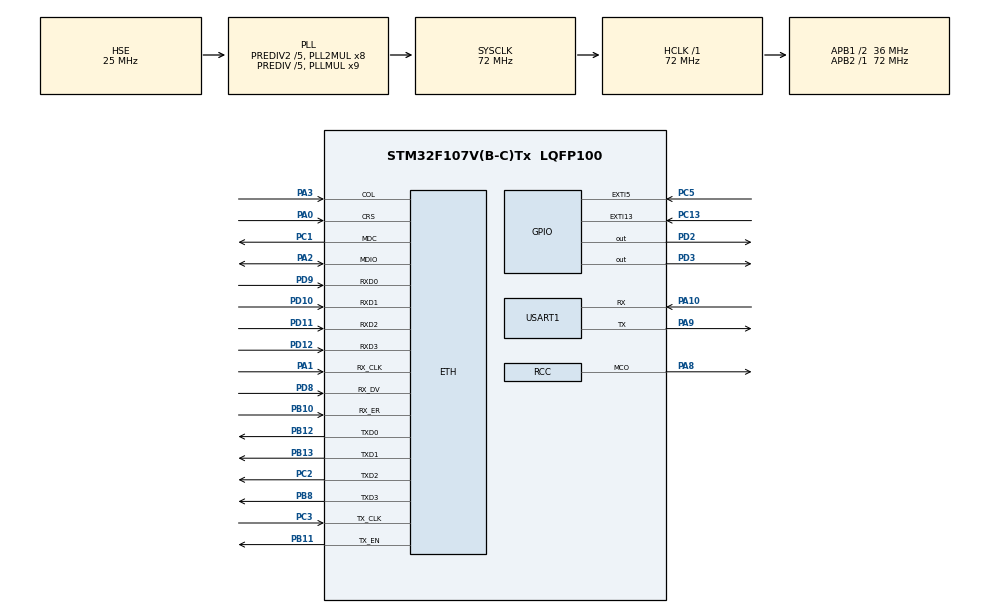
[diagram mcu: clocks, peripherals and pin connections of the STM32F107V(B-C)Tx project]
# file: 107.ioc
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Dma.Request0=USART1_RX
Dma.Request1=USART1_TX
Dma.USART1_RX.0.Direction=DMA_PERIPH_TO_MEMORY
Dma.USART1_RX.0.Instance=DMA1_Channel5
Dma.USART1_RX.0.MemDataAlignment=DMA_MDATAALIGN_BYTE
Dma.USART1_RX.0.MemInc=DMA_MINC_ENABLE
Dma.USART1_RX.0.Mode=DMA_NORMAL
Dma.USART1_RX.0.PeriphDataAlignment=DMA_PDATAALIGN_BYTE
Dma.USART1_RX.0.PeriphInc=DMA_PINC_DISABLE
Dma.USART1_RX.0.Priority=DMA_PRIORITY_LOW
Dma.USART1_TX.1.Direction=DMA_MEMORY_TO_PERIPH
Dma.USART1_TX.1.Instance=DMA1_Channel4
Dma.USART1_TX.1.MemDataAlignment=DMA_MDATAALIGN_BYTE
Dma.USART1_TX.1.MemInc=DMA_MINC_ENABLE
Dma.USART1_TX.1.Mode=DMA_NORMAL
Dma.USART1_TX.1.PeriphDataAlignment=DMA_PDATAALIGN_BYTE
Dma.USART1_TX.1.PeriphInc=DMA_PINC_DISABLE
Dma.USART1_TX.1.Priority=DMA_PRIORITY_LOW
ETH.MediaInterface=ETH_MEDIA_INTERFACE_MII
ETH.PHY_Name_MII=DP83848_PHY_ADDRESS
ETH.RxMode=ETH_RXINTERRUPT_MODE
FREERTOS.BinarySemaphores01=myBinarySem01,Dynamic,NULL;myBinarySem02,Dynamic,NULL
FREERTOS.CountingSemaphores01=myCountingSem01,2,Dynamic,NULL
FREERTOS.HEAP_NUMBER=4
FREERTOS.INCLUDE_eTaskGetState=1
FREERTOS.INCLUDE_pcTaskGetTaskName=1
FREERTOS.INCLUDE_uxTaskGetStackHighWaterMark=1
FREERTOS.INCLUDE_vTaskCleanUpResources=1
FREERTOS.INCLUDE_vTaskDelayUntil=1
FREERTOS.INCLUDE_xQueueGetMutexHolder=1
FREERTOS.INCLUDE_xSemaphoreGetMutexHolder=1
FREERTOS.INCLUDE_xTaskAbortDelay=1
FREERTOS.INCLUDE_xTaskGetCurrentTaskHandle=1
FREERTOS.INCLUDE_xTaskGetHandle=1
FREERTOS.MEMORY_ALLOCATION=0
FREERTOS.Mutexes01=myMutex01,Dynamic,NULL;myMutex02,Dynamic,NULL
FREERTOS.RecursiveMutexes01=myRecursiveMutex01,Dynamic,NULL;myRecursiveMutex02,Dynamic,NULL
FREERTOS.Tasks01=defaultTask,0,128,StartDefaultTask,Default,NULL,Dynamic,NULL,NULL;myTask02,-1,128,StartTask02,Default,NULL,Dynamic,NULL,NULL;myTask03,-1,128,StartTask03,Default,NULL,Dynamic,NULL,NULL;myTask04,-1,128,StartTask04,Default,NULL,Dynamic,NULL,NULL
FREERTOS.configGENERATE_RUN_TIME_STATS=1
FREERTOS.configMAX_PRIORITIES=32
FREERTOS.configTOTAL_HEAP_SIZE=30000
FREERTOS.configUSE_APPLICATION_TASK_TAG=1
FREERTOS.configUSE_COUNTING_SEMAPHORES=1
FREERTOS.configUSE_RECURSIVE_MUTEXES=1
FREERTOS.configUSE_STATS_FORMATTING_FUNCTIONS=1
FREERTOS.configUSE_TRACE_FACILITY=1
LWIP.GATEWAY_ADDRESS=192.168.001.001
LWIP.IP_ADDRESS=192.168.001.120
LWIP.LWIP_DHCP=0
LWIP.LWIP_NETIF_LINK_CALLBACK=1
LWIP.LWIP_NETIF_LOOPBACK=1
LWIP.LWIP_NETIF_STATUS_CALLBACK=1
LWIP.NETMASK_ADDRESS=255.255.255.000
LWIP.Version=v2.0.0_Cube
Mcu.Family=STM32F1
Mcu.Name=STM32F107V(B-C)Tx
Mcu.Package=LQFP100
NVIC.DMA1_Channel4_IRQn=true\:6\:0\:true\:false\:true\:true\:false
NVIC.DMA1_Channel5_IRQn=true\:6\:0\:true\:false\:true\:true\:false
NVIC.ETH_IRQn=true\:5\:0\:false\:false\:true\:true\:true
NVIC.ETH_WKUP_IRQn=true\:7\:0\:true\:false\:true\:true\:true
NVIC.EXTI15_10_IRQn=true\:7\:0\:true\:false\:true\:true\:true
NVIC.EXTI9_5_IRQn=true\:7\:0\:true\:false\:true\:true\:true
NVIC.PriorityGroup=NVIC_PRIORITYGROUP_4
NVIC.TIM7_IRQn=true\:0\:0\:false\:false\:true\:false\:false
NVIC.TimeBase=TIM7_IRQn
NVIC.TimeBaseIP=TIM7
NVIC.USART1_IRQn=true\:5\:0\:false\:false\:true\:true\:true
OSC_IN.Mode=HSE-External-Oscillator
OSC_IN.Signal=RCC_OSC_IN
OSC_OUT.Mode=HSE-External-Oscillator
OSC_OUT.Signal=RCC_OSC_OUT
PA0-WKUP.Mode=MII
PA0-WKUP.Signal=ETH_CRS
PA1.Mode=MII
PA1.Signal=ETH_RX_CLK
PA10.Mode=Asynchronous
PA10.Signal=USART1_RX
PA13.Mode=Trace_Asynchronous_SW
PA13.Signal=SYS_JTMS-SWDIO
PA14.Mode=Trace_Asynchronous_SW
PA14.Signal=SYS_JTCK-SWCLK
PA2.Mode=MII
PA2.Signal=ETH_MDIO
PA3.Mode=MII
PA3.Signal=ETH_COL
PA8.Mode=Clock-out
PA8.Signal=RCC_MCO
PA9.Mode=Asynchronous
PA9.Signal=USART1_TX
PB10.Mode=Activate Rx Err signal
PB10.Signal=ETH_RX_ER
PB11.Mode=MII
PB11.Signal=ETH_TX_EN
PB12.Mode=MII
PB12.Signal=ETH_TXD0
PB13.Mode=MII
PB13.Signal=ETH_TXD1
PB3.Mode=Trace_Asynchronous_SW
PB3.Signal=SYS_TRACESWO
PB8.Mode=MII
PB8.Signal=ETH_TXD3
PC1.Mode=MII
PC1.Signal=ETH_MDC
PC13-TAMPER-RTC.GPIO_ModeDefaultEXTI=GPIO_MODE_IT_FALLING
PC13-TAMPER-RTC.GPIO_PuPd=GPIO_PULLUP
PC13-TAMPER-RTC.Signal=GPXTI13
PC14-OSC32_IN.Mode=LSE-External-Oscillator
PC14-OSC32_IN.Signal=RCC_OSC32_IN
PC15-OSC32_OUT.Mode=LSE-External-Oscillator
PC15-OSC32_OUT.Signal=RCC_OSC32_OUT
PC2.Mode=MII
PC2.Signal=ETH_TXD2
PC3.Mode=MII
PC3.Signal=ETH_TX_CLK
PC5.Signal=GPXTI5
PD0.Signal=CAN1_RX
PD1.Signal=CAN1_TX
PD10.Mode=MII
PD10.Signal=ETH_RXD1
PD11.Mode=MII
PD11.Signal=ETH_RXD2
PD12.Mode=MII
PD12.Signal=ETH_RXD3
PD2.GPIO_Speed=GPIO_SPEED_FREQ_HIGH
PD2.Signal=GPIO_Output
PD3.GPIO_Speed=GPIO_SPEED_FREQ_HIGH
PD3.Signal=GPIO_Output
PD8.Mode=MII
PD8.Signal=ETH_RX_DV
PD9.Mode=MII
PD9.Signal=ETH_RXD0
ProjectManager.HeapSize=0x200
ProjectManager.StackSize=0x400
ProjectManager.TargetToolchain=MDK-ARM V5
RCC.AHBFreq_Value=72000000
RCC.APB1CLKDivider=RCC_HCLK_DIV2
RCC.APB1Freq_Value=36000000
RCC.APB1TimFreq_Value=72000000
RCC.APB2Freq_Value=72000000
RCC.APB2TimFreq_Value=72000000
RCC.HCLKFreq_Value=72000000
RCC.HSEDivPLL=RCC_HSE_PREDIV_DIV5
RCC.HSE_VALUE=25000000
RCC.PLL3Mul=RCC_PLLI2S_MUL10
RCC.PLLMUL=RCC_PLL_MUL9
RCC.PLLSourceVirtual=RCC_PLLSOURCE_HSE
RCC.Prediv1Source=RCC_PREDIV1_SOURCE_PLL2
RCC.Prediv2=RCC_HSE_PREDIV2_DIV5
RCC.RCC_MCOMult_Clock_Source_FROM_PLL3MUL=RCC_MCO1SOURCE_PLL3CLK_DIV2
RCC.RCC_MCOSource=RCC_MCO1SOURCE_PLL3CLK_DIV2
RCC.SYSCLKFreq_VALUE=72000000
RCC.SYSCLKSource=RCC_SYSCLKSOURCE_PLLCLK
RCC.USBFreq_Value=48000000
USART1.VirtualMode=VM_ASYNC
VP_FREERTOS_VS_ENABLE.Mode=Enabled
VP_LWIP_VS_Enabled.Mode=Enabled
VP_SYS_VS_tim7.Mode=TIM7
board=custom

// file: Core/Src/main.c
/* USER CODE BEGIN Header */
/**
  ******************************************************************************
  * @file           : main.c
  * @brief          : Main program body
  ******************************************************************************
  * This notice applies to any and all portions of this file
  * that are not between comment pairs USER CODE BEGIN and
  * USER CODE END. Other portions of this file, whether
  * inserted by the user or by software development tools
  * are owned by their respective copyright owners.
  *
  * Copyright (c) 2019 STMicroelectronics International N.V.
  * All rights reserved.
  *
  * Redistribution and use in source and binary forms, with or without
  * modification, are permitted, provided that the following conditions are met:
  *
  * 1. Redistribution of source code must retain the above copyright notice,
  *    this list of conditions and the following disclaimer.
  * 2. Redistributions in binary form must reproduce the above copyright notice,
  *    this list of conditions and the following disclaimer in the documentation
  *    and/or other materials provided with the distribution.
  * 3. Neither the name of STMicroelectronics nor the names of other
  *    contributors to this software may be used to endorse or promote products
  *    derived from this software without specific written permission.
  * 4. This software, including modifications and/or derivative works of this
  *    software, must execute solely and exclusively on microcontroller or
  *    microprocessor devices manufactured by or for STMicroelectronics.
  * 5. Redistribution and use of this software other than as permitted under
  *    this license is void and will automatically terminate your rights under
  *    this license.
  *
  * THIS SOFTWARE IS PROVIDED BY STMICROELECTRONICS AND CONTRIBUTORS "AS IS"
  * AND ANY EXPRESS, IMPLIED OR STATUTORY WARRANTIES, INCLUDING, BUT NOT
  * LIMITED TO, THE IMPLIED WARRANTIES OF MERCHANTABILITY, FITNESS FOR A
  * PARTICULAR PURPOSE AND NON-INFRINGEMENT OF THIRD PARTY INTELLECTUAL PROPERTY
  * RIGHTS ARE DISCLAIMED TO THE FULLEST EXTENT PERMITTED BY LAW. IN NO EVENT
  * SHALL STMICROELECTRONICS OR CONTRIBUTORS BE LIABLE FOR ANY DIRECT, INDIRECT,
  * INCIDENTAL, SPECIAL, EXEMPLARY, OR CONSEQUENTIAL DAMAGES (INCLUDING, BUT NOT
  * LIMITED TO, PROCUREMENT OF SUBSTITUTE GOODS OR SERVICES; LOSS OF USE, DATA,
  * OR PROFITS; OR BUSINESS INTERRUPTION) HOWEVER CAUSED AND ON ANY THEORY OF
  * LIABILITY, WHETHER IN CONTRACT, STRICT LIABILITY, OR TORT (INCLUDING
  * NEGLIGENCE OR OTHERWISE) ARISING IN ANY WAY OUT OF THE USE OF THIS SOFTWARE,
  * EVEN IF ADVISED OF THE POSSIBILITY OF SUCH DAMAGE.
  *
  ******************************************************************************
  */
/* USER CODE END Header */

#include "main.h"
#include "cmsis_os.h"
#include "dma.h"
#include "lwip.h"
#include "usart.h"
#include "gpio.h"

/* USER CODE BEGIN PV */
//static uint8_t txstr[32]={0};
//extern struct netif gnetif;

////static  char str[32];
//volatile uint8_t rx_len = 0;                          //接收数据长度
//volatile uint8_t recv_end_flag = 0;                   //接收完成标记位
//uint8_t rx_buffer[32] = {0}; //接收数据缓存
//int8_t usart1_send_complete_flag = 0;
//__align(4) uint8_t rxbuf[32] = {0}, txbuf[32] = {0};
/* USER CODE END PV */

void SystemClock_Config(void);
void MX_FREERTOS_Init(void);

int main(void)
{

  /* MCU Configuration--------------------------------------------------------*/

  /* Reset of all peripherals, Initializes the Flash interface and the Systick. */
  HAL_Init();

  /* Configure the system clock */
  SystemClock_Config();

  /* Initialize all configured peripherals */
  MX_GPIO_Init();
  MX_DMA_Init();
  MX_USART1_UART_Init();
  /* USER CODE BEGIN 2 */
    printf("start os!\r\n");

  /* USER CODE END 2 */

  /* Call init function for freertos objects (in freertos.c) */
  MX_FREERTOS_Init();

  /* Start scheduler */
  osKernelStart();

  /* We should never get here as control is now taken by the scheduler */

  /* Infinite loop */
  /* USER CODE BEGIN WHILE */
  while (1)
  {
osDelay(100);
    /* USER CODE END WHILE */

  }
}

void SystemClock_Config(void)
{
  RCC_OscInitTypeDef RCC_OscInitStruct = {0};
  RCC_ClkInitTypeDef RCC_ClkInitStruct = {0};

  /**Initializes the CPU, AHB and APB busses clocks
  */
  RCC_OscInitStruct.OscillatorType = RCC_OSCILLATORTYPE_HSE;
  RCC_OscInitStruct.HSEState = RCC_HSE_ON;
  RCC_OscInitStruct.HSEPredivValue = RCC_HSE_PREDIV_DIV5;
  RCC_OscInitStruct.HSIState = RCC_HSI_ON;
  RCC_OscInitStruct.Prediv1Source = RCC_PREDIV1_SOURCE_PLL2;
  RCC_OscInitStruct.PLL.PLLState = RCC_PLL_ON;
  RCC_OscInitStruct.PLL.PLLSource = RCC_PLLSOURCE_HSE;
  RCC_OscInitStruct.PLL.PLLMUL = RCC_PLL_MUL9;
  RCC_OscInitStruct.PLL2.PLL2State = RCC_PLL2_ON;
  RCC_OscInitStruct.PLL2.PLL2MUL = RCC_PLL2_MUL8;
  RCC_OscInitStruct.PLL2.HSEPrediv2Value = RCC_HSE_PREDIV2_DIV5;
  if (HAL_RCC_OscConfig(&RCC_OscInitStruct) != HAL_OK)
  {
    Error_Handler();
  }
  /**Initializes the CPU, AHB and APB busses clocks
  */
  RCC_ClkInitStruct.ClockType = RCC_CLOCKTYPE_HCLK|RCC_CLOCKTYPE_SYSCLK
                              |RCC_CLOCKTYPE_PCLK1|RCC_CLOCKTYPE_PCLK2;
  RCC_ClkInitStruct.SYSCLKSource = RCC_SYSCLKSOURCE_PLLCLK;
  RCC_ClkInitStruct.AHBCLKDivider = RCC_SYSCLK_DIV1;
  RCC_ClkInitStruct.APB1CLKDivider = RCC_HCLK_DIV2;
  RCC_ClkInitStruct.APB2CLKDivider = RCC_HCLK_DIV1;

  if (HAL_RCC_ClockConfig(&RCC_ClkInitStruct, FLASH_LATENCY_2) != HAL_OK)
  {
    Error_Handler();
  }
  HAL_RCC_MCOConfig(RCC_MCO, RCC_MCO1SOURCE_PLL3CLK_DIV2, RCC_MCODIV_1);
  /**Configure the Systick interrupt time
  */
  __HAL_RCC_HSE_PREDIV2_CONFIG(RCC_HSE_PREDIV2_DIV5);
  /**Configure the Systick interrupt time
  */
  __HAL_RCC_PLLI2S_CONFIG(RCC_PLLI2S_MUL10);
  /**Configure the Systick interrupt time
  */
  __HAL_RCC_PLLI2S_ENABLE();
}

void HAL_TIM_PeriodElapsedCallback(TIM_HandleTypeDef *htim)
{
  if (htim->Instance == TIM7) {
    HAL_IncTick();
  }
}

void Error_Handler(void)
{
}

/************************ (C) COPYRIGHT STMicroelectronics *****END OF FILE****/

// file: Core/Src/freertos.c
/* USER CODE BEGIN Header */
/**
  ******************************************************************************
  * File Name          : freertos.c
  * Description        : Code for freertos applications
  ******************************************************************************
  * This notice applies to any and all portions of this file
  * that are not between comment pairs USER CODE BEGIN and
  * USER CODE END. Other portions of this file, whether
  * inserted by the user or by software development tools
  * are owned by their respective copyright owners.
  *
  * Copyright (c) 2019 STMicroelectronics International N.V.
  * All rights reserved.
  *
  * Redistribution and use in source and binary forms, with or without
  * modification, are permitted, provided that the following conditions are met:
  *
  * 1. Redistribution of source code must retain the above copyright notice,
  *    this list of conditions and the following disclaimer.
  * 2. Redistributions in binary form must reproduce the above copyright notice,
  *    this list of conditions and the following disclaimer in the documentation
  *    and/or other materials provided with the distribution.
  * 3. Neither the name of STMicroelectronics nor the names of other
  *    contributors to this software may be used to endorse or promote products
  *    derived from this software without specific written permission.
  * 4. This software, including modifications and/or derivative works of this
  *    software, must execute solely and exclusively on microcontroller or
  *    microprocessor devices manufactured by or for STMicroelectronics.
  * 5. Redistribution and use of this software other than as permitted under
  *    this license is void and will automatically terminate your rights under
  *    this license.
  *
  * THIS SOFTWARE IS PROVIDED BY STMICROELECTRONICS AND CONTRIBUTORS "AS IS"
  * AND ANY EXPRESS, IMPLIED OR STATUTORY WARRANTIES, INCLUDING, BUT NOT
  * LIMITED TO, THE IMPLIED WARRANTIES OF MERCHANTABILITY, FITNESS FOR A
  * PARTICULAR PURPOSE AND NON-INFRINGEMENT OF THIRD PARTY INTELLECTUAL PROPERTY
  * RIGHTS ARE DISCLAIMED TO THE FULLEST EXTENT PERMITTED BY LAW. IN NO EVENT
  * SHALL STMICROELECTRONICS OR CONTRIBUTORS BE LIABLE FOR ANY DIRECT, INDIRECT,
  * INCIDENTAL, SPECIAL, EXEMPLARY, OR CONSEQUENTIAL DAMAGES (INCLUDING, BUT NOT
  * LIMITED TO, PROCUREMENT OF SUBSTITUTE GOODS OR SERVICES; LOSS OF USE, DATA,
  * OR PROFITS; OR BUSINESS INTERRUPTION) HOWEVER CAUSED AND ON ANY THEORY OF
  * LIABILITY, WHETHER IN CONTRACT, STRICT LIABILITY, OR TORT (INCLUDING
  * NEGLIGENCE OR OTHERWISE) ARISING IN ANY WAY OUT OF THE USE OF THIS SOFTWARE,
  * EVEN IF ADVISED OF THE POSSIBILITY OF SUCH DAMAGE.
  *
  ******************************************************************************
  */
/* USER CODE END Header */

#include "FreeRTOS.h"
#include "task.h"
#include "main.h"
#include "cmsis_os.h"

/* USER CODE BEGIN Includes */
#include "lwip/opt.h"
#include "lwip/timeouts.h"
#include "netif/ethernet.h"
#include "netif/etharp.h"
#include "lwip/ethip6.h"
#include "ethernetif.h"
 #include <string.h>
/* USER CODE END Includes */

/* USER CODE BEGIN Variables */
extern struct netif gnetif;

/* USER CODE END Variables */
osThreadId defaultTaskHandle;
osThreadId myTask02Handle;
osThreadId myTask03Handle;
osThreadId myTask04Handle;
osMutexId myMutex01Handle;
osMutexId myMutex02Handle;
osMutexId myRecursiveMutex01Handle;
osMutexId myRecursiveMutex02Handle;
osSemaphoreId myBinarySem01Handle;
osSemaphoreId myBinarySem02Handle;
osSemaphoreId myCountingSem01Handle;

void StartDefaultTask(void const * argument);
void StartTask02(void const * argument);
void StartTask03(void const * argument);
void StartTask04(void const * argument);

extern void MX_LWIP_Init(void);
void MX_FREERTOS_Init(void); /* (MISRA C 2004 rule 8.1) */

/* Hook prototypes */
void configureTimerForRunTimeStats(void);
unsigned long getRunTimeCounterValue(void);

/* USER CODE BEGIN 1 */
/* Functions needed when configGENERATE_RUN_TIME_STATS is on */
__weak void configureTimerForRunTimeStats(void)
{

}

__weak unsigned long getRunTimeCounterValue(void)
{
return 0;
}
/* USER CODE END 1 */

void MX_FREERTOS_Init(void) {

  /* Create the mutex(es) */
  /* definition and creation of myMutex01 */
  osMutexDef(myMutex01);
  myMutex01Handle = osMutexCreate(osMutex(myMutex01));

  /* definition and creation of myMutex02 */
  osMutexDef(myMutex02);
  myMutex02Handle = osMutexCreate(osMutex(myMutex02));

  /* Create the recursive mutex(es) */
  /* definition and creation of myRecursiveMutex01 */
  osMutexDef(myRecursiveMutex01);
  myRecursiveMutex01Handle = osRecursiveMutexCreate(osMutex(myRecursiveMutex01));

  /* definition and creation of myRecursiveMutex02 */
  osMutexDef(myRecursiveMutex02);
  myRecursiveMutex02Handle = osRecursiveMutexCreate(osMutex(myRecursiveMutex02));

  /* Create the semaphores(s) */
  /* definition and creation of myBinarySem01 */
  osSemaphoreDef(myBinarySem01);
  myBinarySem01Handle = osSemaphoreCreate(osSemaphore(myBinarySem01), 1);

  /* definition and creation of myBinarySem02 */
  osSemaphoreDef(myBinarySem02);
  myBinarySem02Handle = osSemaphoreCreate(osSemaphore(myBinarySem02), 1);

  /* definition and creation of myCountingSem01 */
  osSemaphoreDef(myCountingSem01);
  myCountingSem01Handle = osSemaphoreCreate(osSemaphore(myCountingSem01), 2);

  /* Create the thread(s) */
  /* definition and creation of defaultTask */
  osThreadDef(defaultTask, StartDefaultTask, osPriorityNormal, 0, 128);
  defaultTaskHandle = osThreadCreate(osThread(defaultTask), NULL);

  /* definition and creation of myTask02 */
  osThreadDef(myTask02, StartTask02, osPriorityBelowNormal, 0, 128);
  myTask02Handle = osThreadCreate(osThread(myTask02), NULL);

  /* definition and creation of myTask03 */
  osThreadDef(myTask03, StartTask03, osPriorityBelowNormal, 0, 128);
  myTask03Handle = osThreadCreate(osThread(myTask03), NULL);

  /* definition and creation of myTask04 */
  osThreadDef(myTask04, StartTask04, osPriorityBelowNormal, 0, 128);
  myTask04Handle = osThreadCreate(osThread(myTask04), NULL);

}

void StartDefaultTask(void const * argument)
{
  /* init code for LWIP */
  MX_LWIP_Init();

  for(;;)
  {
    osDelay(1);
  }
}

void StartTask02(void const * argument)
{
  /* USER CODE BEGIN StartTask02 */
  /* Infinite loop */
	char* p=NULL;
	p = pvPortMalloc(1);
		osPrintf("pvPortMalloc=0x%x\r\n",(uint8_t*)p);

  for(;;)
  {
    osDelay(1);
  }
  /* USER CODE END StartTask02 */
}

void StartTask03(void const * argument)
{
  /* USER CODE BEGIN StartTask03 */
  /* Infinite loop */
	uint8_t q[1];
	osPrintf("StartTask03=0x%x\r\n",(uint8_t*)q);

    osPrintf("SYSCLK_Frequency is %dHZ\r\n", HAL_RCC_GetSysClockFreq());
    osPrintf("PCLK1_Frequency is %dHZ\r\n", HAL_RCC_GetPCLK1Freq());
    osPrintf("PCLK2_Frequency is %dHZ\r\n", HAL_RCC_GetPCLK2Freq());
      osPrintf("HAL_RCC_GetHCLKFreq is %dHZ\r\n", HAL_RCC_GetHCLKFreq());
     osPrintf("waiting for eth config!\r\n");
    while(0 == ((uint8_t*)(&(gnetif.ip_addr.addr)))[0])
    {
        osDelay(100);
    }
    osPrintf("ip4addr:%d.%d.%d.%d\r\n", ((uint8_t*)(&(gnetif.ip_addr.addr)))[0], ((uint8_t*)(&gnetif.ip_addr.addr))[1],
           ((uint8_t*)(&gnetif.ip_addr.addr))[2], ((uint8_t*)(&gnetif.ip_addr.addr))[3]);
    osPrintf("hwaddr:%d.%d.%d.%d\r\n", ((uint8_t*)((gnetif.hwaddr)))[0], ((uint8_t*)((gnetif.hwaddr)))[1],
           ((uint8_t*)((gnetif.hwaddr)))[2], ((uint8_t*)((gnetif.hwaddr)))[3]);
    osPrintf("geaddr:%d.%d.%d.%d\r\n", ((uint8_t*)(&(gnetif.gw.addr)))[0], ((uint8_t*)(&gnetif.gw.addr))[1],
           ((uint8_t*)(&gnetif.gw.addr))[2], ((uint8_t*)(&gnetif.gw.addr))[3]);

//		tcpecho_init();
//		udpecho_init();

    while(1){osDelay(100);

//		    osPrintf("\rip4addr:%d.%d.%d.%d", ((uint8_t*)(&(gnetif.ip_addr.addr)))[0], ((uint8_t*)(&gnetif.ip_addr.addr))[1],
//           ((uint8_t*)(&gnetif.ip_addr.addr))[2], ((uint8_t*)(&gnetif.ip_addr.addr))[3]);

		}
  /* USER CODE END StartTask03 */
}

/* USER CODE BEGIN Header_StartTask04 */
/**
* @brief Function implementing the myTask04 thread.
* @param argument: Not used
* @retval None
*/
	extern uint8_t *ucHeap1;

/* USER CODE END Header_StartTask04 */
void StartTask04(void const * argument)
{
  /* USER CODE BEGIN StartTask04 */
  /* Infinite loop */
	uint8_t q[1];
	osPrintf("StartTask04=0x%x\r\n",(uint8_t*)q);
		osPrintf("ucHeap=0x%x\r\n",(uint8_t*)ucHeap1);
		osPrintf("ucHeapend=0x%x\r\n",(uint8_t*)(ucHeap1+configTOTAL_HEAP_SIZE-1));

	osPrintf("xPortGetFreeHeapSize = %d\r\n",xPortGetFreeHeapSize());

  for(;;)
  {
    osDelay(1);
  }
  /* USER CODE END StartTask04 */
}

/************************ (C) COPYRIGHT STMicroelectronics *****END OF FILE****/
